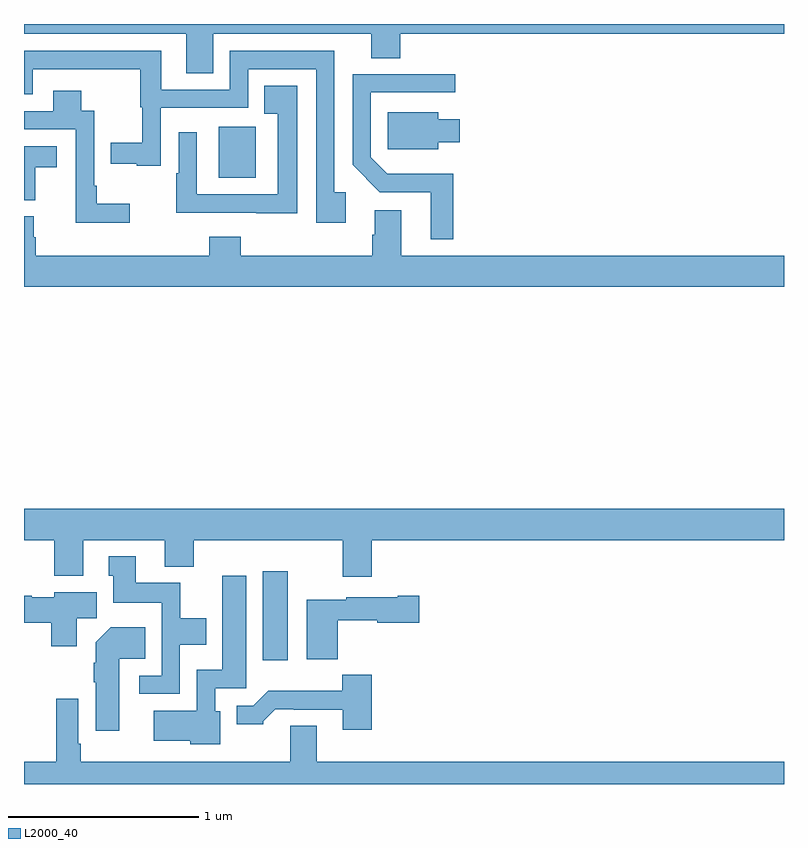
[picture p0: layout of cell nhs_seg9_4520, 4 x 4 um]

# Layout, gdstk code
import gdstk
lib = gdstk.Library(unit=1e-6, precision=1e-09)
def R(c, l, rs):  # rectangles x0, y0, x1, y1
    for r in rs: c.add(gdstk.rectangle(r[:2], r[2:], *l))
def P(c, l, *ps):  # polygons
    for p in ps: c.add(gdstk.Polygon(p, *l))
L2000_40 = (2000, 40)

nhs_seg9_4520 = lib.new_cell('nhs_seg9_4520')
R(nhs_seg9_4520, L2000_40, [(372.257,1165.152,372.388,1165.621), (372.026,1167.692,372.22,1167.96)])
P(nhs_seg9_4520, L2000_40, [(371.995,1168.448),(372.827,1168.448),(372.827,1168.321),(372.98,1168.321),(372.98,1168.448),(375,1168.448),(375,1168.5),(371,1168.5),(371,1168.448),(371.855,1168.448),(371.855,1168.24),(371.995,1168.24)],
  [(372.694,1167.614),(372.633,1167.614),(372.633,1168.359),(372.084,1168.359),(372.084,1168.155),(371.722,1168.155),(371.722,1168.359),(371,1168.359),(371,1168.131),(371.046,1168.131),(371.046,1168.263),(371.389,1168.263),(371.389,1168.261),(371.613,1168.261),(371.613,1168.062),(371.623,1168.062),(371.623,1167.874),(371.457,1167.874),(371.457,1167.764),(371.594,1167.764),(371.594,1167.753),(371.721,1167.753),(371.721,1168.059),(372.18,1168.059),(372.18,1168.263),(372.537,1168.263),(372.537,1167.453),(372.694,1167.453)],
  [(373.259,1167.712),(372.911,1167.712),(372.825,1167.798),(372.825,1168.14),(373.27,1168.14),(373.27,1168.236),(372.729,1168.236),(372.729,1167.758),(372.872,1167.615),(373.142,1167.615),(373.142,1167.366),(373.259,1167.366)],
  [(372.439,1168.174),(372.265,1168.174),(372.265,1168.028),(372.335,1168.028),(372.335,1167.603),(371.91,1167.603),(371.91,1167.931),(371.814,1167.931),(371.814,1167.714),(371.802,1167.714),(371.802,1167.507),(372.223,1167.507),(372.223,1167.505),(372.439,1167.505)],
  [(371.557,1167.554),(371.383,1167.554),(371.383,1167.649),(371.37,1167.649),(371.37,1168.044),(371.301,1168.044),(371.301,1168.15),(371.153,1168.15),(371.153,1168.041),(371,1168.041),(371,1167.945),(371.273,1167.945),(371.273,1167.455),(371.557,1167.455)],
  [(373.18,1167.878),(373.294,1167.878),(373.294,1168),(373.18,1168),(373.18,1168.036),(372.915,1168.036),(372.915,1167.842),(373.18,1167.842)],
  [(371.06,1167.746),(371.173,1167.746),(371.173,1167.856),(371,1167.856),(371,1167.573),(371.06,1167.573)],
  [(375,1167.28),(372.985,1167.28),(372.985,1167.52),(372.845,1167.52),(372.845,1167.392),(372.833,1167.392),(372.833,1167.28),(372.14,1167.28),(372.14,1167.379),(371.975,1167.379),(371.975,1167.28),(371.063,1167.28),(371.063,1167.378),(371.05,1167.378),(371.05,1167.488),(371,1167.488),(371,1167.116),(375,1167.116)],
  [(372.83,1165.784),(375,1165.784),(375,1165.948),(371,1165.948),(371,1165.784),(371.159,1165.784),(371.159,1165.595),(371.311,1165.595),(371.311,1165.784),(371.741,1165.784),(371.741,1165.643),(371.894,1165.643),(371.894,1165.784),(372.677,1165.784),(372.677,1165.59),(372.83,1165.59)],
  [(371.82,1165.232),(371.959,1165.232),(371.959,1165.372),(371.823,1165.372),(371.823,1165.558),(371.587,1165.558),(371.587,1165.699),(371.447,1165.699),(371.447,1165.596),(371.471,1165.596),(371.471,1165.454),(371.724,1165.454),(371.724,1165.071),(371.607,1165.071),(371.607,1164.975),(371.82,1164.975)],
  [(372.034,1164.882),(372.006,1164.882),(372.006,1165.005),(372.169,1165.005),(372.169,1165.597),(372.044,1165.597),(372.044,1165.102),(371.91,1165.102),(371.91,1164.886),(371.682,1164.886),(371.682,1164.728),(371.874,1164.728),(371.874,1164.71),(372.034,1164.71)],
  [(371.278,1165.372),(371.383,1165.372),(371.383,1165.51),(371.16,1165.51),(371.16,1165.483),(371.04,1165.483),(371.04,1165.491),(371,1165.491),(371,1165.349),(371.144,1165.349),(371.144,1165.224),(371.278,1165.224)],
  [(372.65,1165.361),(372.858,1165.361),(372.858,1165.349),(373.081,1165.349),(373.081,1165.491),(372.968,1165.491),(372.968,1165.483),(372.696,1165.483),(372.696,1165.471),(372.488,1165.471),(372.488,1165.157),(372.65,1165.157)],
  [(371.5,1165.16),(371.639,1165.16),(371.639,1165.324),(371.456,1165.324),(371.378,1165.246),(371.378,1165.139),(371.366,1165.139),(371.366,1165.036),(371.378,1165.036),(371.378,1164.78),(371.5,1164.78)],
  [(372.83,1165.075),(372.675,1165.075),(372.675,1164.991),(372.286,1164.991),(372.207,1164.912),(372.119,1164.912),(372.119,1164.815),(372.258,1164.815),(372.258,1164.83),(372.322,1164.894),(372.421,1164.894),(372.421,1164.891),(372.677,1164.891),(372.677,1164.786),(372.83,1164.786)],
  [(372.541,1164.806),(372.401,1164.806),(372.401,1164.616),(371.299,1164.616),(371.299,1164.712),(371.286,1164.712),(371.286,1164.949),(371.17,1164.949),(371.17,1164.616),(371,1164.616),(371,1164.5),(375,1164.5),(375,1164.616),(372.541,1164.616)])

lib.write_gds('nhs_seg9_4520.gds')
